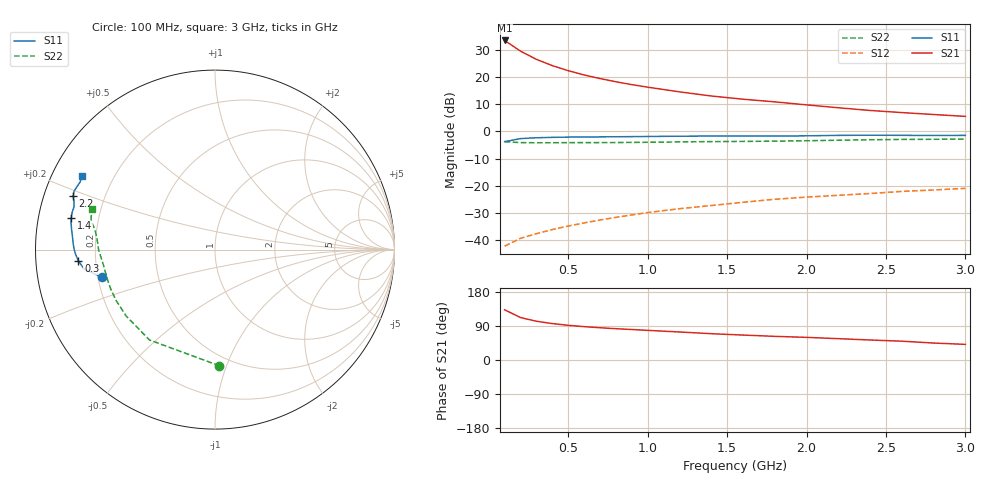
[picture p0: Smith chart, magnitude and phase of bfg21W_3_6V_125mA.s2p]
! Filename: 3_6125bfg21.001
! Title: BFG21W
! Bias: Vce=3.6V; Ic=125mA
! Company: Philips Semiconductors NL
! User: Quality&Reliability T&D
! Measure time: 10 Nov 1999 / 11:44:37
#  MHz  S  MA  R 50
! Freq  S11  S21  S12  S22  :
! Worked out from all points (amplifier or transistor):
!   20 points, 100 MHz to 3 GHz, reference 50 ohm
!   highest |S21| = 33.4 dB at 100 MHz (marker M1)
!   |S21| within 3 dB of that: start of sweep to 176.5 MHz
!   unconditionally stable (mu >= 1): 632.7 MHz to end of sweep
!   at 400 MHz: K = 0.90, MSG = 30.1 dB, |S12| = -36.1 dB
!   at 1.2 GHz: K = 1.06, MAG = 20.0 dB, |S12| = -28.4 dB
!   at 3 GHz: K = 1.05, MAG = 11.9 dB, |S12| = -20.9 dB
!   S11 on the Smith chart (normalised r, x): 100 MHz: 0.22, -0.12; 300 MHz: 0.13, -0.04; 1.4 GHz: 0.10, +0.11; 2.2 GHz: 0.09, +0.18; 3 GHz: 0.09, +0.26
100  0.6474 -166.2  46.74 132.6  0.007798 56.2  0.6478 -87.8
200  0.7366 -171.5  29.76 112.0  0.01087 53.5  0.6219 -125.9
300  0.7639 -175.3  21.03 102.3  0.01321 56.7  0.6179 -143.2
400  0.7764 -177.9  16.13 96.1  0.01572 60.2  0.6195 -152.7
500  0.7841 -179.9  13.03 91.6  0.01825 63.2  0.6208 -158.9
600  0.789 178.3  10.88 88.0  0.02084 65.4  0.6219 -163.2
700  0.7929 176.6  9.337 85.1  0.02355 67.4  0.6224 -166.5
800  0.7965 175.1  8.15 82.6  0.02636 68.9  0.624 -169.3
900  0.8009 173.6  7.226 80.5  0.0292 70.5  0.627 -171.8
1000  0.806 172.2  6.487 78.2  0.03228 71.1  0.6309 -174.0
1200  0.815 169.8  5.322 74.0  0.038 72.1  0.6408 -177.5
1400  0.8204 167.7  4.467 69.4  0.0435 72.4  0.6494 179.7
1600  0.8227 165.5  3.899 65.8  0.04986 72.5  0.6539 177.1
1800  0.8207 163.1  3.486 62.4  0.05662 72.5  0.6616 174.4
2000  0.8289 161.2  3.066 59.7  0.06203 73.1  0.6732 171.6
2200  0.8448 159.3  2.716 56.3  0.06699 72.7  0.6878 169.3
2400  0.8498 157.6  2.421 52.8  0.07226 71.9  0.7023 167.6
2600  0.8458 155.8  2.215 49.6  0.07901 70.8  0.7117 166.1
2800  0.8408 153.4  2.04 44.7  0.08397 69.0  0.7159 164.1
3000  0.8451 150.9  1.887 41.2  0.08984 68.1  0.7227 161.6
